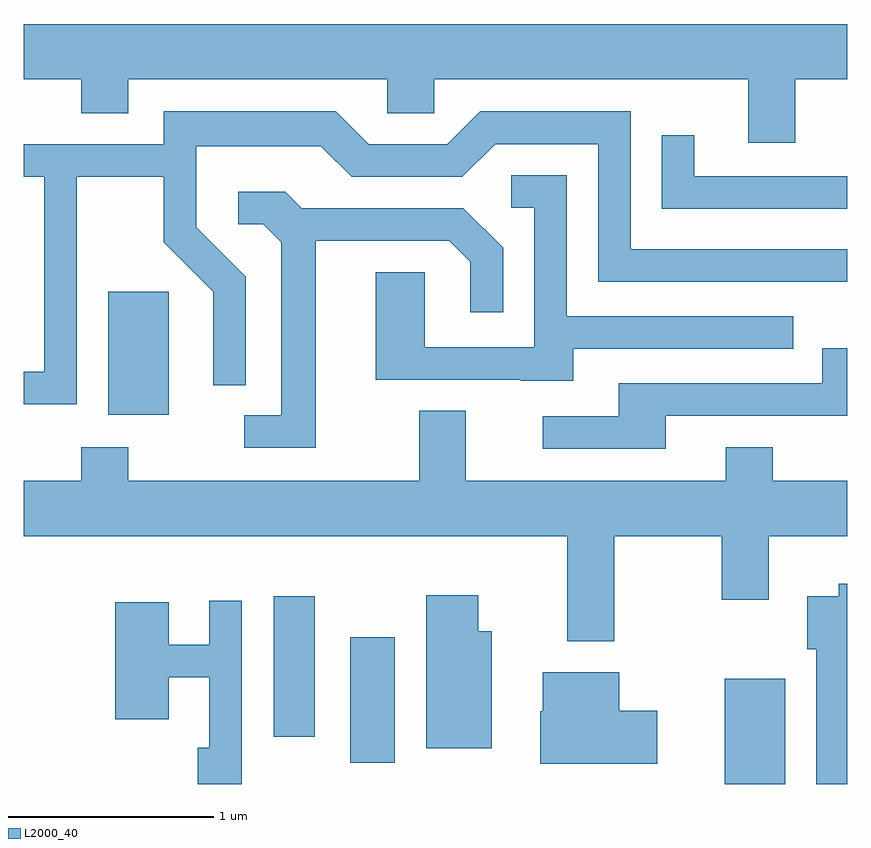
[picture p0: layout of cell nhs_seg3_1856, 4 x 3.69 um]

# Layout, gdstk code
import gdstk
lib = gdstk.Library(unit=1e-6, precision=1e-09)
def R(c, l, rs):  # rectangles x0, y0, x1, y1
    for r in rs: c.add(gdstk.rectangle(r[:2], r[2:], *l))
def P(c, l, *ps):  # polygons
    for p in ps: c.add(gdstk.Polygon(p, *l))
L2000_40 = (2000, 40)

nhs_seg3_1856 = lib.new_cell('nhs_seg3_1856')
R(nhs_seg3_1856, L2000_40, [(243.016,1155.892,243.309,1156.404), (241.196,1155.996,241.414,1156.604), (240.826,1156.121,241.024,1156.804), (240.021,1157.686,240.314,1158.284)])
P(nhs_seg3_1856, L2000_40, [(243.359,1159.316),(243.611,1159.316),(243.611,1159.584),(239.611,1159.584),(239.611,1159.316),(239.891,1159.316),(239.891,1159.151),(240.119,1159.151),(240.119,1159.316),(241.376,1159.316),(241.376,1159.151),(241.604,1159.151),(241.604,1159.316),(243.131,1159.316),(243.131,1159.006),(243.359,1159.006)],
  [(239.869,1158.841),(240.291,1158.841),(240.291,1158.524),(240.531,1158.284),(240.531,1157.828),(240.689,1157.828),(240.689,1158.357),(240.449,1158.597),(240.449,1158.991),(241.054,1158.991),(241.204,1158.841),(241.742,1158.841),(241.902,1159.001),(242.401,1159.001),(242.401,1158.331),(243.611,1158.331),(243.611,1158.489),(242.559,1158.489),(242.559,1159.159),(241.829,1159.159),(241.669,1158.999),(241.287,1158.999),(241.127,1159.159),(240.291,1159.159),(240.291,1158.999),(239.611,1158.999),(239.611,1158.841),(239.711,1158.841),(239.711,1157.894),(239.611,1157.894),(239.611,1157.736),(239.869,1157.736)],
  [(243.611,1158.844),(242.869,1158.844),(242.869,1159.043),(242.711,1159.043),(242.711,1158.686),(243.611,1158.686)],
  [(242.279,1158.006),(243.348,1158.006),(243.348,1158.164),(242.249,1158.164),(242.249,1158.849),(241.978,1158.849),(241.978,1158.691),(242.091,1158.691),(242.091,1158.014),(241.559,1158.014),(241.559,1158.379),(241.321,1158.379),(241.321,1157.856),(242.025,1157.856),(242.025,1157.851),(242.279,1157.851)],
  [(241.029,1158.531),(241.679,1158.531),(241.781,1158.429),(241.781,1158.183),(241.939,1158.183),(241.939,1158.497),(241.747,1158.689),(240.962,1158.689),(240.882,1158.769),(240.653,1158.769),(240.653,1158.611),(240.774,1158.611),(240.861,1158.524),(240.861,1157.684),(240.683,1157.684),(240.683,1157.526),(241.029,1157.526)],
  [(242.729,1157.681),(243.611,1157.681),(243.611,1158.009),(243.491,1158.009),(243.491,1157.839),(242.501,1157.839),(242.501,1157.679),(242.133,1157.679),(242.133,1157.521),(242.729,1157.521)],
  [(242.479,1157.096),(243.001,1157.096),(243.001,1156.786),(243.229,1156.786),(243.229,1157.096),(243.611,1157.096),(243.611,1157.364),(243.249,1157.364),(243.249,1157.529),(243.021,1157.529),(243.021,1157.364),(241.759,1157.364),(241.759,1157.704),(241.531,1157.704),(241.531,1157.364),(240.119,1157.364),(240.119,1157.529),(239.891,1157.529),(239.891,1157.364),(239.611,1157.364),(239.611,1157.096),(242.251,1157.096),(242.251,1156.586),(242.479,1156.586)],
  [(243.611,1156.864),(243.571,1156.864),(243.571,1156.804),(243.416,1156.804),(243.416,1156.546),(243.461,1156.546),(243.461,1155.892),(243.611,1155.892)],
  [(241.884,1156.634),(241.819,1156.634),(241.819,1156.809),(241.566,1156.809),(241.566,1156.066),(241.884,1156.066)],
  [(240.669,1156.783),(240.511,1156.783),(240.511,1156.569),(240.314,1156.569),(240.314,1156.774),(240.056,1156.774),(240.056,1156.206),(240.314,1156.206),(240.314,1156.411),(240.511,1156.411),(240.511,1156.069),(240.456,1156.069),(240.456,1155.892),(240.669,1155.892)],
  [(242.689,1156.249),(242.504,1156.249),(242.504,1156.434),(242.131,1156.434),(242.131,1156.245),(242.121,1156.245),(242.121,1155.991),(242.689,1155.991)])

lib.write_gds('nhs_seg3_1856.gds')
